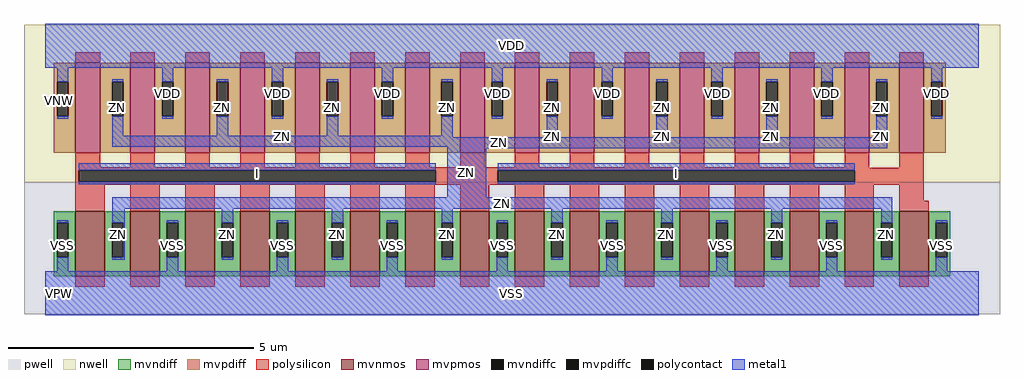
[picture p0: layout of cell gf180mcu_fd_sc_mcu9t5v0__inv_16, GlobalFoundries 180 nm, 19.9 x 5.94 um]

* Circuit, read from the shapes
.subckt gf180mcu_fd_sc_mcu9t5v0__inv_16 I ZN VDD VNW VPW VSS
XM1 ZN I VSS VPW nfet_06v0 w=1.32u l=0.6u m=16
XM2 ZN I VDD VNW pfet_06v0 w=1.83u l=0.5u m=16
.ends

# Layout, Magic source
magic
tech gf180mcuD
magscale 1 10
<< nwell >>
rect -86 453 3894 1094
<< pwell >>
rect -86 -86 3894 453
<< mvnmos >>
rect 124 69 244 333
rect 348 69 468 333
rect 572 69 692 333
rect 796 69 916 333
rect 1020 69 1140 333
rect 1244 69 1364 333
rect 1468 69 1588 333
rect 1692 69 1812 333
rect 1916 69 2036 333
rect 2140 69 2260 333
rect 2364 69 2484 333
rect 2588 69 2708 333
rect 2812 69 2932 333
rect 3036 69 3156 333
rect 3260 69 3380 333
rect 3484 69 3604 333
<< mvpmos >>
rect 124 573 224 939
rect 348 573 448 939
rect 572 573 672 939
rect 796 573 896 939
rect 1020 573 1120 939
rect 1244 573 1344 939
rect 1468 573 1568 939
rect 1692 573 1792 939
rect 1916 573 2016 939
rect 2140 573 2240 939
rect 2364 573 2464 939
rect 2588 573 2688 939
rect 2812 573 2912 939
rect 3036 573 3136 939
rect 3260 573 3360 939
rect 3484 573 3584 939
<< mvndiff >>
rect 36 287 124 333
rect 36 147 49 287
rect 95 147 124 287
rect 36 69 124 147
rect 244 287 348 333
rect 244 147 273 287
rect 319 147 348 287
rect 244 69 348 147
rect 468 287 572 333
rect 468 147 497 287
rect 543 147 572 287
rect 468 69 572 147
rect 692 287 796 333
rect 692 147 721 287
rect 767 147 796 287
rect 692 69 796 147
rect 916 287 1020 333
rect 916 147 945 287
rect 991 147 1020 287
rect 916 69 1020 147
rect 1140 287 1244 333
rect 1140 147 1169 287
rect 1215 147 1244 287
rect 1140 69 1244 147
rect 1364 287 1468 333
rect 1364 147 1393 287
rect 1439 147 1468 287
rect 1364 69 1468 147
rect 1588 287 1692 333
rect 1588 147 1617 287
rect 1663 147 1692 287
rect 1588 69 1692 147
rect 1812 287 1916 333
rect 1812 147 1841 287
rect 1887 147 1916 287
rect 1812 69 1916 147
rect 2036 287 2140 333
rect 2036 147 2065 287
rect 2111 147 2140 287
rect 2036 69 2140 147
rect 2260 287 2364 333
rect 2260 147 2289 287
rect 2335 147 2364 287
rect 2260 69 2364 147
rect 2484 287 2588 333
rect 2484 147 2513 287
rect 2559 147 2588 287
rect 2484 69 2588 147
rect 2708 287 2812 333
rect 2708 147 2737 287
rect 2783 147 2812 287
rect 2708 69 2812 147
rect 2932 287 3036 333
rect 2932 147 2961 287
rect 3007 147 3036 287
rect 2932 69 3036 147
rect 3156 287 3260 333
rect 3156 147 3185 287
rect 3231 147 3260 287
rect 3156 69 3260 147
rect 3380 287 3484 333
rect 3380 147 3409 287
rect 3455 147 3484 287
rect 3380 69 3484 147
rect 3604 287 3692 333
rect 3604 147 3633 287
rect 3679 147 3692 287
rect 3604 69 3692 147
<< mvpdiff >>
rect 36 861 124 939
rect 36 721 49 861
rect 95 721 124 861
rect 36 573 124 721
rect 224 861 348 939
rect 224 721 273 861
rect 319 721 348 861
rect 224 573 348 721
rect 448 861 572 939
rect 448 721 477 861
rect 523 721 572 861
rect 448 573 572 721
rect 672 861 796 939
rect 672 721 701 861
rect 747 721 796 861
rect 672 573 796 721
rect 896 861 1020 939
rect 896 721 925 861
rect 971 721 1020 861
rect 896 573 1020 721
rect 1120 861 1244 939
rect 1120 721 1149 861
rect 1195 721 1244 861
rect 1120 573 1244 721
rect 1344 861 1468 939
rect 1344 721 1373 861
rect 1419 721 1468 861
rect 1344 573 1468 721
rect 1568 861 1692 939
rect 1568 721 1616 861
rect 1662 721 1692 861
rect 1568 573 1692 721
rect 1792 861 1916 939
rect 1792 721 1821 861
rect 1867 721 1916 861
rect 1792 573 1916 721
rect 2016 861 2140 939
rect 2016 721 2045 861
rect 2091 721 2140 861
rect 2016 573 2140 721
rect 2240 861 2364 939
rect 2240 721 2269 861
rect 2315 721 2364 861
rect 2240 573 2364 721
rect 2464 861 2588 939
rect 2464 721 2493 861
rect 2539 721 2588 861
rect 2464 573 2588 721
rect 2688 861 2812 939
rect 2688 721 2717 861
rect 2763 721 2812 861
rect 2688 573 2812 721
rect 2912 861 3036 939
rect 2912 721 2941 861
rect 2987 721 3036 861
rect 2912 573 3036 721
rect 3136 861 3260 939
rect 3136 721 3165 861
rect 3211 721 3260 861
rect 3136 573 3260 721
rect 3360 861 3484 939
rect 3360 721 3389 861
rect 3435 721 3484 861
rect 3360 573 3484 721
rect 3584 861 3672 939
rect 3584 721 3613 861
rect 3659 721 3672 861
rect 3584 573 3672 721
<< mvndiffc >>
rect 49 147 95 287
rect 273 147 319 287
rect 497 147 543 287
rect 721 147 767 287
rect 945 147 991 287
rect 1169 147 1215 287
rect 1393 147 1439 287
rect 1617 147 1663 287
rect 1841 147 1887 287
rect 2065 147 2111 287
rect 2289 147 2335 287
rect 2513 147 2559 287
rect 2737 147 2783 287
rect 2961 147 3007 287
rect 3185 147 3231 287
rect 3409 147 3455 287
rect 3633 147 3679 287
<< mvpdiffc >>
rect 49 721 95 861
rect 273 721 319 861
rect 477 721 523 861
rect 701 721 747 861
rect 925 721 971 861
rect 1149 721 1195 861
rect 1373 721 1419 861
rect 1616 721 1662 861
rect 1821 721 1867 861
rect 2045 721 2091 861
rect 2269 721 2315 861
rect 2493 721 2539 861
rect 2717 721 2763 861
rect 2941 721 2987 861
rect 3165 721 3211 861
rect 3389 721 3435 861
rect 3613 721 3659 861
<< polysilicon >>
rect 124 939 224 983
rect 348 939 448 983
rect 572 939 672 983
rect 796 939 896 983
rect 1020 939 1120 983
rect 1244 939 1344 983
rect 1468 939 1568 983
rect 1692 939 1792 983
rect 1916 939 2016 983
rect 2140 939 2240 983
rect 2364 939 2464 983
rect 2588 939 2688 983
rect 2812 939 2912 983
rect 3036 939 3136 983
rect 3260 939 3360 983
rect 3484 939 3584 983
rect 124 513 224 573
rect 348 513 448 573
rect 572 513 672 573
rect 796 513 896 573
rect 1020 513 1120 573
rect 1244 513 1344 573
rect 1468 513 1568 573
rect 1692 513 1792 573
rect 1916 513 2016 573
rect 2140 513 2240 573
rect 2364 513 2464 573
rect 2588 513 2688 573
rect 2812 513 2912 573
rect 3036 513 3136 573
rect 3260 513 3360 573
rect 124 512 3360 513
rect 3484 512 3584 573
rect 124 500 3584 512
rect 124 454 137 500
rect 1593 454 1845 500
rect 3301 454 3584 500
rect 124 441 3584 454
rect 124 333 244 441
rect 348 333 468 441
rect 572 333 692 441
rect 796 333 916 441
rect 1020 333 1140 441
rect 1244 333 1364 441
rect 1468 333 1588 441
rect 1692 333 1812 441
rect 1916 333 2036 441
rect 2140 333 2260 441
rect 2364 333 2484 441
rect 2588 333 2708 441
rect 2812 333 2932 441
rect 3036 333 3156 441
rect 3260 333 3380 441
rect 3484 377 3584 441
rect 3484 333 3604 377
rect 124 25 244 69
rect 348 25 468 69
rect 572 25 692 69
rect 796 25 916 69
rect 1020 25 1140 69
rect 1244 25 1364 69
rect 1468 25 1588 69
rect 1692 25 1812 69
rect 1916 25 2036 69
rect 2140 25 2260 69
rect 2364 25 2484 69
rect 2588 25 2708 69
rect 2812 25 2932 69
rect 3036 25 3156 69
rect 3260 25 3380 69
rect 3484 25 3604 69
<< polycontact >>
rect 137 454 1593 500
rect 1845 454 3301 500
<< metal1 >>
rect 0 918 3808 1098
rect 49 861 95 918
rect 49 710 95 721
rect 273 861 319 872
rect 273 642 319 721
rect 477 861 523 918
rect 477 710 523 721
rect 701 861 747 872
rect 701 642 747 721
rect 925 861 971 918
rect 925 710 971 721
rect 1149 861 1195 872
rect 1149 642 1195 721
rect 1373 861 1419 918
rect 1373 710 1419 721
rect 1616 861 1662 872
rect 1616 642 1662 721
rect 1821 861 1867 918
rect 1821 710 1867 721
rect 2045 861 2091 872
rect 273 636 1662 642
rect 2045 636 2091 721
rect 2269 861 2315 918
rect 2269 710 2315 721
rect 2493 861 2539 872
rect 2493 636 2539 721
rect 2717 861 2763 918
rect 2717 710 2763 721
rect 2941 861 2987 872
rect 2941 636 2987 721
rect 3165 861 3211 918
rect 3165 710 3211 721
rect 3389 861 3435 872
rect 3389 636 3435 721
rect 3613 861 3659 918
rect 3613 710 3659 721
rect 273 596 3435 636
rect 1639 590 3435 596
rect 137 500 1593 530
rect 137 443 1593 454
rect 1639 390 1799 590
rect 1845 500 3301 530
rect 1845 443 3301 454
rect 273 344 3455 390
rect 49 287 95 298
rect 49 90 95 147
rect 273 287 325 344
rect 319 147 325 287
rect 273 136 325 147
rect 497 287 543 298
rect 497 90 543 147
rect 721 287 767 344
rect 721 136 767 147
rect 945 287 991 298
rect 945 90 991 147
rect 1169 287 1215 344
rect 1169 136 1215 147
rect 1393 287 1439 298
rect 1393 90 1439 147
rect 1617 287 1663 344
rect 1617 136 1663 147
rect 1841 287 1887 298
rect 1841 90 1887 147
rect 2065 287 2111 344
rect 2065 136 2111 147
rect 2289 287 2335 298
rect 2289 90 2335 147
rect 2513 287 2559 344
rect 2513 136 2559 147
rect 2737 287 2783 298
rect 2737 90 2783 147
rect 2961 287 3007 344
rect 2961 136 3007 147
rect 3185 287 3231 298
rect 3185 90 3231 147
rect 3409 287 3455 344
rect 3409 136 3455 147
rect 3633 287 3679 298
rect 3633 90 3679 147
rect 0 -90 3808 90
<< labels >>
flabel metal1 s 137 443 1593 530 0 FreeSans 200 0 0 0 I
port 1 nsew default input
flabel metal1 s 0 918 3808 1098 0 FreeSans 200 0 0 0 VDD
port 3 nsew power bidirectional abutment
flabel metal1 s 3633 90 3679 298 0 FreeSans 200 0 0 0 VSS
port 6 nsew ground bidirectional abutment
flabel metal1 s 3389 642 3435 872 0 FreeSans 200 0 0 0 ZN
port 2 nsew default output
flabel nwell s 10 734 110 834 0 FreeSans 400 0 0 0 VNW
port 4 nsew power bidirectional
flabel pwell s 10 -50 110 50 0 FreeSans 400 0 0 0 VPW
port 5 nsew ground bidirectional
rlabel metal1 s 1845 443 3301 530 1 I
port 1 nsew default input
rlabel metal1 s 2941 642 2987 872 1 ZN
port 2 nsew default output
rlabel metal1 s 2493 642 2539 872 1 ZN
port 2 nsew default output
rlabel metal1 s 2045 642 2091 872 1 ZN
port 2 nsew default output
rlabel metal1 s 1616 642 1662 872 1 ZN
port 2 nsew default output
rlabel metal1 s 1149 642 1195 872 1 ZN
port 2 nsew default output
rlabel metal1 s 701 642 747 872 1 ZN
port 2 nsew default output
rlabel metal1 s 273 642 319 872 1 ZN
port 2 nsew default output
rlabel metal1 s 3389 636 3435 642 1 ZN
port 2 nsew default output
rlabel metal1 s 2941 636 2987 642 1 ZN
port 2 nsew default output
rlabel metal1 s 2493 636 2539 642 1 ZN
port 2 nsew default output
rlabel metal1 s 2045 636 2091 642 1 ZN
port 2 nsew default output
rlabel metal1 s 273 636 1662 642 1 ZN
port 2 nsew default output
rlabel metal1 s 273 596 3435 636 1 ZN
port 2 nsew default output
rlabel metal1 s 1639 590 3435 596 1 ZN
port 2 nsew default output
rlabel metal1 s 1639 390 1799 590 1 ZN
port 2 nsew default output
rlabel metal1 s 273 344 3455 390 1 ZN
port 2 nsew default output
rlabel metal1 s 3409 136 3455 344 1 ZN
port 2 nsew default output
rlabel metal1 s 2961 136 3007 344 1 ZN
port 2 nsew default output
rlabel metal1 s 2513 136 2559 344 1 ZN
port 2 nsew default output
rlabel metal1 s 2065 136 2111 344 1 ZN
port 2 nsew default output
rlabel metal1 s 1617 136 1663 344 1 ZN
port 2 nsew default output
rlabel metal1 s 1169 136 1215 344 1 ZN
port 2 nsew default output
rlabel metal1 s 721 136 767 344 1 ZN
port 2 nsew default output
rlabel metal1 s 273 136 325 344 1 ZN
port 2 nsew default output
rlabel metal1 s 3613 710 3659 918 1 VDD
port 3 nsew power bidirectional abutment
rlabel metal1 s 3165 710 3211 918 1 VDD
port 3 nsew power bidirectional abutment
rlabel metal1 s 2717 710 2763 918 1 VDD
port 3 nsew power bidirectional abutment
rlabel metal1 s 2269 710 2315 918 1 VDD
port 3 nsew power bidirectional abutment
rlabel metal1 s 1821 710 1867 918 1 VDD
port 3 nsew power bidirectional abutment
rlabel metal1 s 1373 710 1419 918 1 VDD
port 3 nsew power bidirectional abutment
rlabel metal1 s 925 710 971 918 1 VDD
port 3 nsew power bidirectional abutment
rlabel metal1 s 477 710 523 918 1 VDD
port 3 nsew power bidirectional abutment
rlabel metal1 s 49 710 95 918 1 VDD
port 3 nsew power bidirectional abutment
rlabel metal1 s 3185 90 3231 298 1 VSS
port 6 nsew ground bidirectional abutment
rlabel metal1 s 2737 90 2783 298 1 VSS
port 6 nsew ground bidirectional abutment
rlabel metal1 s 2289 90 2335 298 1 VSS
port 6 nsew ground bidirectional abutment
rlabel metal1 s 1841 90 1887 298 1 VSS
port 6 nsew ground bidirectional abutment
rlabel metal1 s 1393 90 1439 298 1 VSS
port 6 nsew ground bidirectional abutment
rlabel metal1 s 945 90 991 298 1 VSS
port 6 nsew ground bidirectional abutment
rlabel metal1 s 497 90 543 298 1 VSS
port 6 nsew ground bidirectional abutment
rlabel metal1 s 49 90 95 298 1 VSS
port 6 nsew ground bidirectional abutment
rlabel metal1 s 0 -90 3808 90 1 VSS
port 6 nsew ground bidirectional abutment
<< properties >>
string FIXED_BBOX 0 0 3808 1008
string GDS_END 905684
string GDS_FILE $PDKPATH/libs.ref/gf180mcu_fd_sc_mcu9t5v0/gds/gf180mcu_fd_sc_mcu9t5v0.gds
string GDS_START 895550
string LEFclass core
string LEFsite GF018hv5v_green_sc9
string LEFsymmetry X Y
<< end >>
